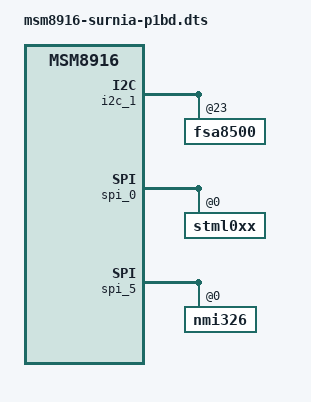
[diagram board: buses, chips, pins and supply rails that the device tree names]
/* Copyright (c) 2014, Motorola Mobility LLC. All rights reserved.
*
* This program is free software; you can redistribute it and/or modify
* it under the terms of the GNU General Public License version 2 and
* only version 2 as published by the Free Software Foundation.
*
* This program is distributed in the hope that it will be useful,
* but WITHOUT ANY WARRANTY; without even the implied warranty of
* MERCHANTABILITY or FITNESS FOR A PARTICULAR PURPOSE.  See the
* GNU General Public License for more details.
*/

/dts-v1/;

#include "msm8916-styx.dtsi"

/ {
	qcom,board-id = <0x43 0x81bd>,
			<0x43 0x82ad>,
			<0x45 0x81b1>;
};

&i2c_1 {
	fsa8500@23 {
		status = "ok";
	};
};

&spi_0 {
	stml0xx@0 {
		headset_detect_enable = <0>;
	};
};

&spi_5 {
	status = "ok";
	nmi326@0 {
		status = "ok";
	};
};
